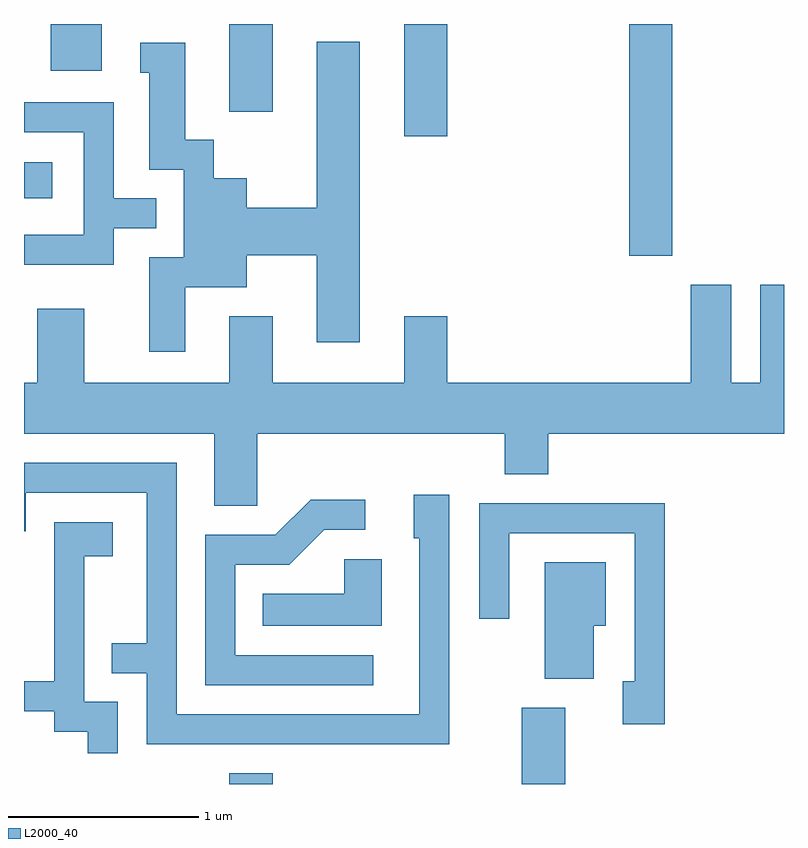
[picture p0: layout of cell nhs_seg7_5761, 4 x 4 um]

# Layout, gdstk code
import gdstk
lib = gdstk.Library(unit=1e-6, precision=1e-09)
def R(c, l, rs):  # rectangles x0, y0, x1, y1
    for r in rs: c.add(gdstk.rectangle(r[:2], r[2:], *l))
def P(c, l, *ps):  # polygons
    for p in ps: c.add(gdstk.Polygon(p, *l))
L2000_40 = (2000, 40)

nhs_seg7_5761 = lib.new_cell('nhs_seg7_5761')
R(nhs_seg7_5761, L2000_40, [(362.691,1710.252,362.919,1710.309), (364.231,1710.252,364.459,1710.654), (364.796,1713.031,365.024,1714.252), (361.611,1713.336,361.759,1713.524), (363.611,1713.661,363.839,1714.252), (362.691,1713.791,362.919,1714.252), (361.751,1714.006,362.019,1714.252)])
P(nhs_seg7_5761, L2000_40, [(362.459,1712.866),(362.784,1712.866),(362.784,1713.036),(363.151,1713.036),(363.151,1712.576),(363.379,1712.576),(363.379,1714.159),(363.151,1714.159),(363.151,1713.284),(362.784,1713.284),(362.784,1713.439),(362.609,1713.439),(362.609,1713.644),(362.459,1713.644),(362.459,1714.154),(362.223,1714.154),(362.223,1713.996),(362.271,1713.996),(362.271,1713.486),(362.451,1713.486),(362.451,1713.024),(362.271,1713.024),(362.271,1712.526),(362.459,1712.526)],
  [(362.084,1713.176),(362.308,1713.176),(362.308,1713.334),(362.084,1713.334),(362.084,1713.839),(361.611,1713.839),(361.611,1713.681),(361.926,1713.681),(361.926,1713.144),(361.611,1713.144),(361.611,1712.986),(362.084,1712.986)],
  [(362.839,1712.096),(364.141,1712.096),(364.141,1711.881),(364.369,1711.881),(364.369,1712.096),(365.611,1712.096),(365.611,1712.879),(365.486,1712.879),(365.486,1712.364),(365.334,1712.364),(365.334,1712.879),(365.121,1712.879),(365.121,1712.364),(363.839,1712.364),(363.839,1712.714),(363.611,1712.714),(363.611,1712.364),(362.919,1712.364),(362.919,1712.714),(362.691,1712.714),(362.691,1712.364),(361.929,1712.364),(361.929,1712.754),(361.681,1712.754),(361.681,1712.364),(361.611,1712.364),(361.611,1712.096),(362.611,1712.096),(362.611,1711.716),(362.839,1711.716)],
  [(363.849,1711.774),(363.661,1711.774),(363.661,1711.546),(363.691,1711.546),(363.691,1710.619),(362.414,1710.619),(362.414,1711.944),(361.611,1711.944),(361.611,1711.581),(361.619,1711.581),(361.619,1711.786),(362.256,1711.786),(362.256,1710.994),(362.073,1710.994),(362.073,1710.836),(362.256,1710.836),(362.256,1710.461),(363.849,1710.461)],
  [(363.448,1710.929),(362.724,1710.929),(362.724,1711.406),(363.007,1711.406),(363.192,1711.591),(363.408,1711.591),(363.408,1711.749),(363.119,1711.749),(362.934,1711.564),(362.566,1711.564),(362.566,1710.771),(363.448,1710.771)],
  [(364.984,1711.729),(364.006,1711.729),(364.006,1711.123),(364.164,1711.123),(364.164,1711.571),(364.826,1711.571),(364.826,1710.794),(364.761,1710.794),(364.761,1710.566),(364.984,1710.566)],
  [(362.104,1710.684),(361.929,1710.684),(361.929,1711.451),(362.079,1711.451),(362.079,1711.629),(361.771,1711.629),(361.771,1710.794),(361.611,1710.794),(361.611,1710.636),(361.771,1710.636),(361.771,1710.526),(361.946,1710.526),(361.946,1710.413),(362.104,1710.413)],
  [(363.494,1711.434),(363.296,1711.434),(363.296,1711.254),(362.868,1711.254),(362.868,1711.086),(363.494,1711.086)],
  [(364.609,1711.086),(364.674,1711.086),(364.674,1711.419),(364.351,1711.419),(364.351,1710.806),(364.609,1710.806)])

lib.write_gds('nhs_seg7_5761.gds')
